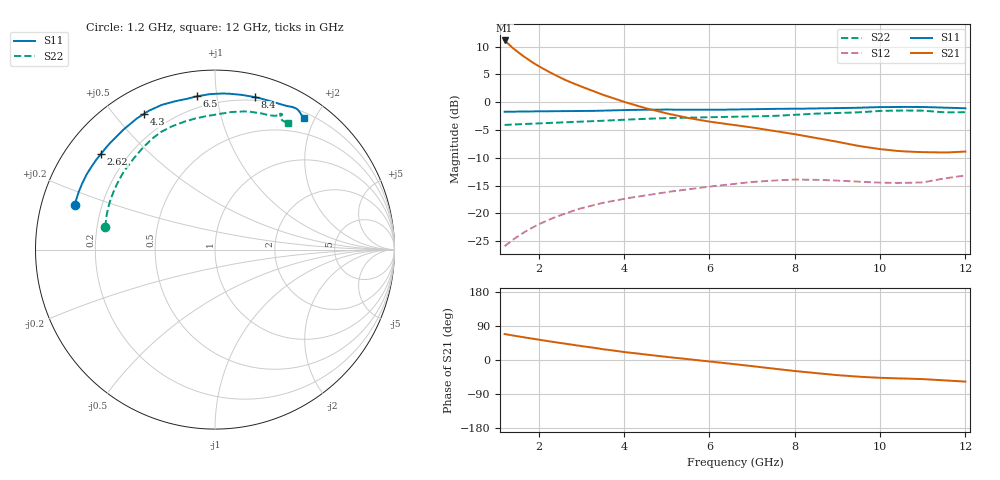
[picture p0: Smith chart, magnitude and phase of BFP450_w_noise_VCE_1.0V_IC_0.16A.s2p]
! (c) 2015  Infineon Technologies AG, Munich
! Infineon Technologies  Discrete & RF Semiconductors
! BFP450
! VCE =  1.0 V,  IC = 0.16 A
! Common Emitter S-Parameters:  Nov 2015
# GHz  S  MA  R  50
!  f  S11  S21  S12  S22
! GHz  MAG  ANG  MAG  ANG  MAG  ANG  MAG  ANG
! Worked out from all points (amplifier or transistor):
!   154 points, 1.2 GHz to 12 GHz, reference 50 ohm
!   highest |S21| = 11.1 dB at 1.2 GHz (marker M1)
!   |S21| within 3 dB of that: start of sweep to 1.672 GHz
!   unconditionally stable (mu >= 1): start of sweep to end of sweep
!   at 1.7 GHz: K = 1.13, MAG = 13.4 dB, |S12| = -23.2 dB
!   at 2.74 GHz: K = 1.16, MAG = 9.2 dB, |S12| = -19.7 dB
!   at 12 GHz: K = 1.10, MAG = 0.2 dB, |S12| = -13.2 dB
!   lowest NFmin = 2.68 dB at 450 MHz
!   S11 on the Smith chart (normalised r, x): 1.2 GHz: 0.10, +0.15; 2.62 GHz: 0.11, +0.36; 4.3 GHz: 0.11, +0.60; 6.5 GHz: 0.13, +0.88; 8.4 GHz: 0.17, +1.28; 12 GHz: 0.28, +1.85
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1.2  0.8208 162.3  3.591 68.5  0.0508 60.6  0.6247 168.5
1.32  0.8213 160.3  3.255 66.1  0.0552 59.6  0.6275 166.2
1.5  0.8244 157.4  2.843 62.7  0.0619 58.0  0.6327 162.8
1.8  0.827 152.6  2.351 57.2  0.0728 54.8  0.6402 157.6
2  0.8288 149.5  2.108 53.7  0.0798 52.4  0.6452 154.2
2.2  0.8289 146.3  1.907 50.0  0.0865 50.0  0.6499 150.8
2.62  0.8291 140.1  1.586 43.0  0.0999 44.9  0.6604 143.9
3  0.8333 134.6  1.382 36.7  0.1115 40.2  0.6702 138.1
3.5  0.8409 127.3  1.168 28.5  0.1245 33.7  0.6815 131.2
4  0.8506 120.8  1.008 21.0  0.1356 27.9  0.6957 125.2
4.3  0.8535 117.6  0.933 17.3  0.1414 24.7  0.7035 121.9
4.8  0.8574 112.3  0.829 10.8  0.1515 19.6  0.7161 116.6
5.5  0.8559 105.2  0.722 2.1  0.1651 12.3  0.7274 109.1
6.5  0.8598 96.8  0.63 -9.8  0.1834 1.9  0.7387 98.5
6.6  0.8607 95.8  0.622 -11.1  0.1849 0.7  0.7395 97.6
7.4  0.8706 87.3  0.562 -21.7  0.1966 -8.7  0.7509 90.4
8.4  0.8779 75.4  0.484 -33.7  0.2011 -20.5  0.7862 78.3
9.4  0.8904 64.9  0.411 -43.3  0.1939 -30.1  0.8087 67.6
10.2  0.9051 61.1  0.372 -47.7  0.1887 -34.5  0.8381 63.6
11  0.9058 59.4  0.356 -50.4  0.1901 -36.9  0.8398 64.4
11.4  0.8973 58.0  0.354 -53.0  0.203 -37.1  0.8169 63.4
12  0.8819 56.0  0.36 -57.0  0.2195 -42.8  0.8127 60.0
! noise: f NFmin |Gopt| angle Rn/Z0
0.45  2.68  0.71  -172  0.07
0.9  2.73  0.73  -165  0.1
1.9  2.84  0.73  -148  0.24
2.4  2.91  0.73  -138  0.37
